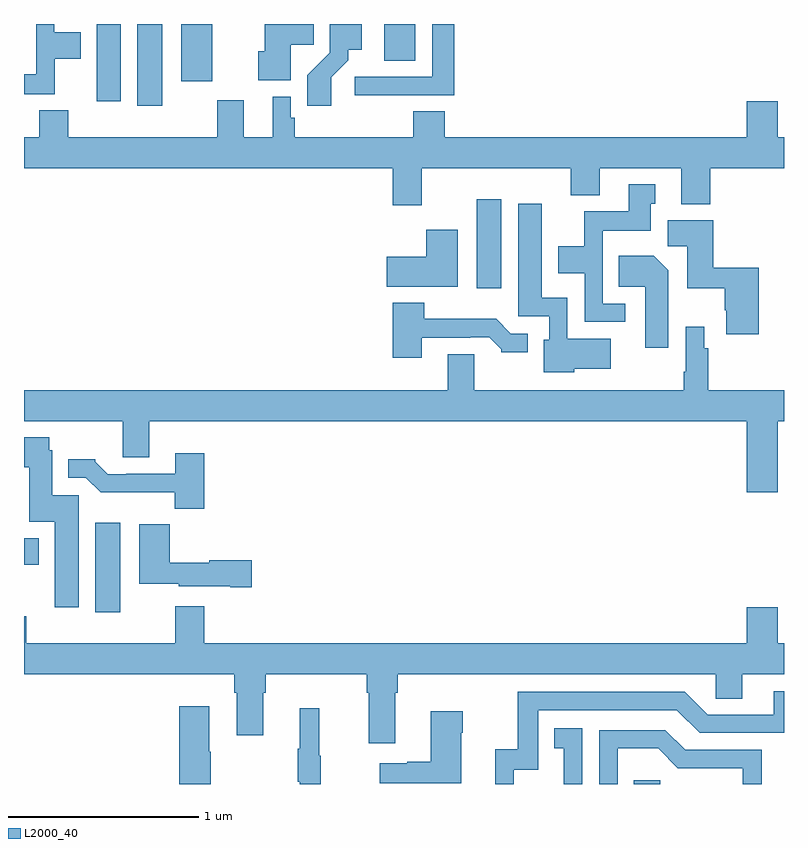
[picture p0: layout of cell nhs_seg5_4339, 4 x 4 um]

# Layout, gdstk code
import gdstk
lib = gdstk.Library(unit=1e-6, precision=1e-09)
def R(c, l, rs):  # rectangles x0, y0, x1, y1
    for r in rs: c.add(gdstk.rectangle(r[:2], r[2:], *l))
def P(c, l, *ps):  # polygons
    for p in ps: c.add(gdstk.Polygon(p, *l))
L2000_40 = (2000, 40)

nhs_seg5_4339 = lib.new_cell('nhs_seg5_4339')
R(nhs_seg5_4339, L2000_40, [(368.209,906.799,368.349,906.819), (365.375,907.704,365.506,908.173), (365,907.952,365.077,908.092), (367.382,909.408,367.513,909.877), (365.597,910.368,365.728,910.799), (365.384,910.392,365.509,910.799), (366.896,910.606,367.06,910.799)])
P(nhs_seg5_4339, L2000_40, [(366.403,910.69),(366.524,910.69),(366.524,910.799),(366.266,910.799),(366.266,910.655),(366.233,910.655),(366.233,910.502),(366.403,910.502)],
  [(365.992,910.724),(365.99,910.724),(365.99,910.799),(365.828,910.799),(365.828,910.497),(365.992,910.497)],
  [(366.616,910.519),(366.706,910.609),(366.706,910.664),(366.778,910.664),(366.778,910.799),(366.609,910.799),(366.609,910.649),(366.49,910.53),(366.49,910.368),(366.616,910.368)],
  [(366.965,910.425),(367.265,910.425),(367.265,910.799),(367.149,910.799),(367.149,910.521),(366.741,910.521),(366.741,910.423),(366.965,910.423)],
  [(365.163,910.616),(365.299,910.616),(365.299,910.756),(365.16,910.756),(365.16,910.799),(365.064,910.799),(365.064,910.534),(365,910.534),(365,910.43),(365.163,910.43)],
  [(367.093,910.04),(367.877,910.04),(367.877,909.899),(368.029,909.899),(368.029,910.04),(368.459,910.04),(368.459,909.851),(368.612,909.851),(368.612,910.04),(369,910.04),(369,910.204),(368.968,910.204),(368.968,910.393),(368.804,910.393),(368.804,910.204),(367.214,910.204),(367.214,910.34),(367.049,910.34),(367.049,910.204),(366.425,910.204),(366.425,910.305),(366.405,910.305),(366.405,910.417),(366.308,910.417),(366.308,910.204),(366.157,910.204),(366.157,910.399),(366.017,910.399),(366.017,910.204),(365.234,910.204),(365.234,910.345),(365.081,910.345),(365.081,910.204),(365,910.204),(365,910.04),(366.941,910.04),(366.941,909.846),(367.093,909.846)],
  [(368.164,909.327),(368.046,909.327),(368.046,909.71),(368.299,909.71),(368.299,909.852),(368.323,909.852),(368.323,909.955),(368.183,909.955),(368.183,909.814),(367.948,909.814),(367.948,909.628),(367.811,909.628),(367.811,909.488),(367.95,909.488),(367.95,909.231),(368.164,909.231)],
  [(367.896,908.984),(368.089,908.984),(368.089,909.142),(367.86,909.142),(367.86,909.358),(367.726,909.358),(367.726,909.853),(367.601,909.853),(367.601,909.261),(367.764,909.261),(367.764,909.138),(367.736,909.138),(367.736,908.966),(367.896,908.966)],
  [(368.867,909.517),(368.627,909.517),(368.627,909.766),(368.387,909.766),(368.387,909.628),(368.492,909.628),(368.492,909.407),(368.689,909.407),(368.689,909.292),(368.696,909.292),(368.696,909.165),(368.867,909.165)],
  [(367.282,909.715),(367.118,909.715),(367.118,909.574),(366.909,909.574),(366.909,909.416),(367.282,909.416)],
  [(368.392,909.502),(368.314,909.58),(368.131,909.58),(368.131,909.416),(368.27,909.416),(368.27,909.096),(368.392,909.096)],
  [(367.093,909.147),(367.349,909.147),(367.349,909.15),(367.448,909.15),(367.512,909.086),(367.512,909.071),(367.651,909.071),(367.651,909.168),(367.563,909.168),(367.485,909.247),(367.106,909.247),(367.106,909.331),(366.941,909.331),(366.941,909.042),(367.093,909.042)],
  [(368.968,908.708),(369,908.708),(369,908.872),(368.6,908.872),(368.6,909.092),(368.58,909.092),(368.58,909.205),(368.484,909.205),(368.484,908.968),(368.472,908.968),(368.472,908.872),(367.369,908.872),(367.369,909.062),(367.229,909.062),(367.229,908.872),(365,908.872),(365,908.708),(365.519,908.708),(365.519,908.518),(365.659,908.518),(365.659,908.708),(368.804,908.708),(368.804,908.334),(368.968,908.334)],
  [(365.287,908.319),(365.149,908.319),(365.149,908.556),(365.133,908.556),(365.133,908.623),(365,908.623),(365,908.467),(365.027,908.467),(365.027,908.18),(365.162,908.18),(365.162,907.728),(365.287,907.728)],
  [(365.948,908.539),(365.795,908.539),(365.795,908.433),(365.539,908.433),(365.539,908.43),(365.44,908.43),(365.376,908.494),(365.376,908.509),(365.234,908.509),(365.234,908.412),(365.325,908.412),(365.404,908.334),(365.793,908.334),(365.793,908.249),(365.948,908.249)],
  [(366.199,907.976),(365.976,907.976),(365.976,907.963),(365.768,907.963),(365.768,908.167),(365.606,908.167),(365.606,907.853),(365.814,907.853),(365.814,907.841),(366.086,907.841),(366.086,907.834),(366.199,907.834)],
  [(365.948,907.735),(365.795,907.735),(365.795,907.54),(365.012,907.54),(365.012,907.681),(365,907.681),(365,907.376),(366.107,907.376),(366.107,907.28),(366.119,907.28),(366.119,907.056),(366.259,907.056),(366.259,907.28),(366.272,907.28),(366.272,907.376),(366.803,907.376),(366.803,907.28),(366.815,907.28),(366.815,907.014),(366.955,907.014),(366.955,907.28),(366.968,907.28),(366.968,907.376),(368.64,907.376),(368.64,907.249),(368.779,907.249),(368.779,907.376),(369,907.376),(369,907.54),(368.968,907.54),(368.968,907.729),(368.804,907.729),(368.804,907.54),(365.948,907.54)],
  [(367.578,906.873),(367.707,906.873),(367.707,907.188),(368.436,907.188),(368.556,907.068),(369,907.068),(369,907.287),(368.945,907.287),(368.945,907.164),(368.598,907.164),(368.478,907.284),(367.599,907.284),(367.599,906.982),(367.481,906.982),(367.481,906.799),(367.578,906.799)],
  [(365.982,906.968),(365.974,906.968),(365.974,907.207),(365.816,907.207),(365.816,906.799),(365.982,906.799)],
  [(366.562,906.948),(366.554,906.948),(366.554,907.198),(366.452,907.198),(366.452,906.985),(366.441,906.985),(366.441,906.811),(366.452,906.811),(366.452,906.799),(366.562,906.799)],
  [(367.3,907.07),(367.308,907.07),(367.308,907.183),(367.142,907.183),(367.142,906.917),(367.016,906.917),(367.016,906.907),(366.873,906.907),(366.873,906.803),(367.3,906.803)],
  [(367.938,907.093),(367.792,907.093),(367.792,906.987),(367.841,906.987),(367.841,906.799),(367.938,906.799)],
  [(368.124,906.986),(368.338,906.986),(368.442,906.882),(368.784,906.882),(368.784,906.799),(368.883,906.799),(368.883,906.978),(368.479,906.978),(368.374,907.083),(368.028,907.083),(368.028,906.799),(368.124,906.799)])

lib.write_gds('nhs_seg5_4339.gds')
